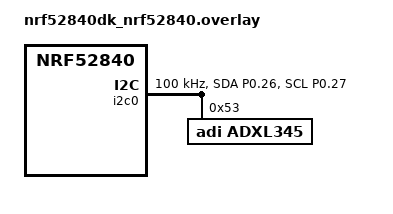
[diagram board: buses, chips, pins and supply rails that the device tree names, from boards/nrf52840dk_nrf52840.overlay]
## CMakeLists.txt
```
#
# Copyright (c) 2020 Nordic Semiconductor ASA
#
# SPDX-License-Identifier: LicenseRef-Nordic-5-Clause
#
cmake_minimum_required(VERSION 3.20.0)

find_package(Zephyr REQUIRED HINTS $ENV{ZEPHYR_BASE})
project(lcd_test)

target_sources(app PRIVATE
	src/main.c)
```

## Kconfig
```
#
# Copyright (c) 2020 Nordic Semiconductor
#
# SPDX-License-Identifier: LicenseRef-Nordic-5-Clause
#

source "Kconfig.zephyr"

menu "Nordic Bluetooth mesh chat client sample"

config BT_MESH_CHAT_CLI_MESSAGE_LENGTH
	int "Max length of the message to be sent over mesh"
	default 90
	range 0 255
	help
	  Impacts on memory size occupied by the buffer of a message to be
	  published. This does not include null terminator. The message must also
	  fit into the application SDU. Adjust BT_MESH_TX_SEG_MAX and
	  BT_MESH_RX_SEG_MAX to be able to receive the longest messages.

config BT_MESH_CHAT_SAMPLE_PRESENCE_CACHE_SIZE
	int "Presence cache size"
	default 10
	range 0 32767
	help
	  Presence cache stores previously received presence of chat clients.
	  Recommended to be as big as number of chat clients in the mesh network.

config NODE_GATEWAY
	bool "Node C: Gateway mode"
	default n
	help
	  Enable gateway behaviour: periodically print own sensor data and
	  received mesh data as ACCEL:<id>:<x>,<y>,<z> lines over UART so
	  that gateway_bridge.py (--serial) can forward them to the WebSocket
	  dashboard.  Flash this build only to the board that is connected to
	  the host PC via USB.  Leave disabled for Node A and Node B.

endmenu

module = BT_MESH_CHAT_CLI
module-str = BT Mesh Chat Client model
source "${ZEPHYR_BASE}/subsys/logging/Kconfig.template.log_config"
```

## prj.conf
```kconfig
# ── I2C + Sensor ────────────────────────────────────────────────────────────
CONFIG_I2C=y
CONFIG_PINCTRL=y
CONFIG_SENSOR=y
CONFIG_ADXL345=y

# ── BLE Mesh ─────────────────────────────────────────────────────────────────
CONFIG_BT=y
CONFIG_BT_MESH=y
CONFIG_BT_OBSERVER=y
CONFIG_BT_PERIPHERAL=y
CONFIG_BT_MESH_RELAY=y
CONFIG_BT_MESH_GATT_PROXY=y
CONFIG_BT_MESH_PB_GATT=y
# MESSAGE_LENGTH=90 → BUF = OP(3) + payload(91) + MIC_SHORT(4) = 98 bytes
# ceil(98/12) = 9 segments required
CONFIG_BT_MESH_TX_SEG_MAX=9
CONFIG_BT_MESH_RX_SEG_MAX=9
# 동시 TX SAR 컨텍스트 수: 기본 1 → EBUSY(-16)/publish 실패 방지
CONFIG_BT_MESH_TX_SEG_MSG_COUNT=4
# 동시 RX SAR 컨텍스트 수: 기본 1 → RELAY+멀티노드 동시 수신 슬롯 고갈 방지
CONFIG_BT_MESH_RX_SEG_MSG_COUNT=4
# Mesh 광고 버퍼: 기본 6 → TX_SEG_MAX(9)×TX_MSG_COUNT(4) 세그먼트 큐잉 대응
CONFIG_BT_MESH_ADV_BUF_COUNT=24

# ── Persistent storage (Mesh 네트워크 키 / 주소 Flash 저장) ──────────────────
CONFIG_FLASH=y
CONFIG_FLASH_MAP=y
CONFIG_NVS=y
CONFIG_SETTINGS=y
CONFIG_BT_SETTINGS=y
CONFIG_MPU_ALLOW_FLASH_WRITE=y

# ── Shell (UART provisioning 명령 + model_handler 디버그 출력) ────────────────
# SHELL_BACKEND_UART 는 nRF52840 DK 기본 defconfig에서 자동 활성화된다.
CONFIG_SHELL=y

# ── DK library (OOB 프로비저닝 버튼 + attention LED blink) ───────────────────
CONFIG_DK_LIBRARY=y
CONFIG_HWINFO=y
CONFIG_BT_MESH_DK_PROV=y

# ── Shell 스택 크기 (sensor get 시 BUS FAULT 방지) ───────────────────────────
CONFIG_SHELL_STACK_SIZE=4096

# ── Logging ──────────────────────────────────────────────────────────────────
CONFIG_LOG=y

# ── 노드 역할 ─────────────────────────────────────────────────────────────────
# Node C (Gateway) 플래시 시에만 y로 설정. Node A/B는 n.
CONFIG_NODE_GATEWAY=n
```

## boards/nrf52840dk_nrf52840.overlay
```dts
/*
 * nRF52840 DK — 1602 LCD (PCF8574 I2C backpack) + ADXL345 가속도계 (GY-291) overlay
 *
 * ── 1602 LCD (PCF8574 I2C 백팩) 연결 ──────────────────────────────────────
 *  LCD 모듈   │  nRF52840 DK
 * ────────────┼────────────────────────────────────────────────────────────
 *  GND        │  GND  (J2 핀1)
 *  VCC        │  VCC (3.3V → J2 핀2, 또는 5V → P22 핀3)
 *  SDA        │  P0.26 (Arduino A4 / J3 핀7)   ← ADXL345 SDA 공유
 *  SCL        │  P0.27 (Arduino A5 / J3 핀8)   ← ADXL345 SCL 공유
 * ─────────────────────────────────────────────────────────────────────────
 *
 * PCF8574 I2C 주소: 0x27 (A0=A1=A2=1, 기본값)
 *                  0x3F (PCF8574AT 칩 사용 시)
 *
 * ── GY-291 (ADXL345) 연결 ─────────────────────────────────────────────────
 *  GY-291 핀  │  nRF52840 DK                    │  비고
 * ────────────┼─────────────────────────────────┼───────────────────────────
 *  GND        │  GND  (J2 핀1)                  │
 *  VCC        │  3.3V (J2 핀2)                  │  3.3V 전용 — 5V 금지
 *  CS         │  3.3V (J2 핀2)                  │  HIGH = I2C 모드 선택
 *  SDO        │  GND  (J2 핀1)                  │  LOW  = I2C 주소 0x53
 *             │                                 │  HIGH = I2C 주소 0x1D
 *  SDA        │  P0.26 (Arduino A4 / J3 핀7)   │  LCD SDA와 동일 버스
 *  SCL        │  P0.27 (Arduino A5 / J3 핀8)   │  LCD SCL와 동일 버스
 *  INT1       │  P1.08 (Arduino D8 / J2 헤더)  │  선택사항 — 폴링 시 미연결 가능
 *  INT2       │  P1.10 (J2 확장 헤더)           │  선택사항 — 폴링 시 미연결 가능
 * ─────────────────────────────────────────────────────────────────────────
 *
 * ADXL345 I2C 주소: 0x53 (SDO → GND, 기본값)
 *                  0x1D (SDO → VCC)
 */

&pinctrl {
	i2c0_default: i2c0_default {
		group1 {
			psels = <NRF_PSEL(TWIM_SDA, 0, 26)>,
				<NRF_PSEL(TWIM_SCL, 0, 27)>;
			bias-pull-up;
		};
	};

	i2c0_sleep: i2c0_sleep {
		group1 {
			psels = <NRF_PSEL(TWIM_SDA, 0, 26)>,
				<NRF_PSEL(TWIM_SCL, 0, 27)>;
			low-power-enable;
		};
	};
};

&i2c0 {
	compatible = "nordic,nrf-twim";
	status = "okay";
	pinctrl-0 = <&i2c0_default>;
	pinctrl-1 = <&i2c0_sleep>;
	pinctrl-names = "default", "sleep";
	clock-frequency = <I2C_BITRATE_STANDARD>;

	adxl345: adxl345@53 {
		compatible = "adi,adxl345";
		reg = <0x53>;
		/* SDO → VCC 연결 시 reg = <0x1D> 로 변경 */
		/* NCS v2.4.0 바인딩은 int-gpios 미지원 — 폴링 모드로 동작 */
	};
};
```

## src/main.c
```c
/*
 * BLE Mesh 분산 가속도 모니터링 노드
 *
 * 동작:
 *   1. ADXL345 (I2C 0x53) 에서 X/Y/Z 가속도를 500 ms 마다 읽는다.
 *   2. Provisioned 상태이면 BLE Mesh로 데이터를 publish 한다.
 *      메시지 포맷: "A:<x_centi>,<y_centi>,<z_centi>"
 *      예) "A:123,-234,981" → x=1.23, y=-2.34, z=9.81 m/s²
 *   3. 다른 노드의 데이터를 수신하면 model_handler가 파싱해 저장한다.
 *   4. LCD 1602 (PCF8574 I2C 백팩 0x27) 에 표시한다.
 *      Line 0: 로컬 노드 X, Y 가속도
 *      Line 1: 수신한 원격 노드 주소 + X 가속도
 *              (미수신: "Mesh: waiting..."  / 미프로비전: "Mesh: no prov  ")
 *
 * I2C 버스 (P0.26 SDA / P0.27 SCL) 공유:
 *   ADXL345  @ 0x53
 *   PCF8574  @ 0x27
 *
 * BLE Mesh 프로비저닝:
 *   nRF Mesh 앱 또는 UART shell 명령으로 수행한다.
 *   프로비전 후 Chat CLI 모델에 App Key 바인딩 + 그룹 주소 구독 설정 필요.
 */

#include <zephyr/kernel.h>
#include <zephyr/device.h>
#include <zephyr/drivers/sensor.h>
#include <zephyr/drivers/i2c.h>
#include <zephyr/bluetooth/bluetooth.h>
#include <zephyr/bluetooth/mesh.h>
#include <zephyr/settings/settings.h>
#include <bluetooth/mesh/dk_prov.h>
#include <dk_buttons_and_leds.h>
#include <stdio.h>

#include "model_handler.h"

#include <zephyr/logging/log.h>
LOG_MODULE_REGISTER(chat, CONFIG_LOG_DEFAULT_LEVEL);

#define ACCEL_NODE              DT_NODELABEL(adxl345)
#define LCD_I2C_NODE            DT_NODELABEL(i2c0)
#define LCD_ADDR                0x27
#define POLL_INTERVAL_MS        200   /* 센서 샘플링 주기 (LCD 갱신 기준) */
#define CHANGE_THRESHOLD_CENTI  5     /* 변화 감지 임계값: 0.05 m/s² */
#define PUB_INTERVAL_MS         1000  /* BLE Mesh 전송 간격: 변화 감지 시 최대 1회/초 */

/* PCF8574 핀 마스크 */
#define LCD_RS  BIT(0)
#define LCD_RW  BIT(1)
#define LCD_E   BIT(2)
#define LCD_BL  BIT(3)

static const struct device *lcd_i2c;

/* ── LCD forward declarations (본문은 아래 정의) ────────────────────────────── */
static void lcd_set_cursor(uint8_t col, uint8_t row);
static void lcd_puts(const char *s);

/* ── 프로비저닝 리셋 (Button 1 5초 꾹) ─────────────────────────────────────── */

static struct k_work_delayable prov_reset_work;

static void prov_reset_handler(struct k_work *work)
{
	LOG_INF("Button 1 held 5s — resetting provisioning");
	lcd_set_cursor(0, 0);
	lcd_puts("Resetting prov..");
	lcd_set_cursor(0, 1);
	lcd_puts("Please wait...  ");
	bt_mesh_reset();
	LOG_INF("Provisioning reset complete. Re-provision to rejoin.");
}

static void button_handler(uint32_t button_state, uint32_t has_changed)
{
	if (!(has_changed & DK_BTN1_MSK)) {
		return;
	}
	if (button_state & DK_BTN1_MSK) {
		k_work_reschedule(&prov_reset_work, K_SECONDS(5));
	} else {
		k_work_cancel_delayable(&prov_reset_work);
	}
}

/* ── 이벤트 기반 publish 상태 ─────────────────────────────────────────────── */

static int32_t last_pub_x = INT32_MIN;
static int32_t last_pub_y = INT32_MIN;
static int32_t last_pub_z = INT32_MIN;
static int64_t last_pub_ms;

#if defined(CONFIG_NODE_GATEWAY)
#define GW_UART_INTERVAL_MS  1000
static int64_t last_gw_print_ms;
#endif

static inline int32_t i32_abs(int32_t v) { return v < 0 ? -v : v; }

static bool accel_needs_publish(int32_t x, int32_t y, int32_t z)
{
	if ((k_uptime_get() - last_pub_ms) < PUB_INTERVAL_MS) {
		return false;
	}
	return (i32_abs(x - last_pub_x) > CHANGE_THRESHOLD_CENTI ||
		i32_abs(y - last_pub_y) > CHANGE_THRESHOLD_CENTI ||
		i32_abs(z - last_pub_z) > CHANGE_THRESHOLD_CENTI);
}

/* ── PCF8574 / HD44780 저수준 ──────────────────────────────────────────── */

static void pcf_write(uint8_t val)
{
	i2c_write(lcd_i2c, &val, 1, LCD_ADDR);
}

static void lcd_pulse_enable(uint8_t data)
{
	pcf_write(data | LCD_E);
	k_busy_wait(1);
	pcf_write(data & ~LCD_E);
	k_busy_wait(50);
}

static void lcd_write_nibble(uint8_t nibble, uint8_t flags)
{
	uint8_t data = (nibble << 4) | flags | LCD_BL;
	lcd_pulse_enable(data);
}

static void lcd_send(uint8_t byte, uint8_t flags)
{
	lcd_write_nibble(byte >> 4, flags);
	lcd_write_nibble(byte & 0x0F, flags);
	k_busy_wait(50);
}

static inline void lcd_cmd(uint8_t cmd) { lcd_send(cmd, 0); }
static inline void lcd_putc(char c)     { lcd_send((uint8_t)c, LCD_RS); }

/* ── LCD 초기화 (4비트 모드) ─────────────────────────────────────────────── */

static void lcd_init(void)
{
	k_msleep(50);

	/* 4비트 초기화 시퀀스 */
	lcd_write_nibble(0x03, 0); k_msleep(5);
	lcd_write_nibble(0x03, 0); k_busy_wait(150);
	lcd_write_nibble(0x03, 0); k_busy_wait(150);
	lcd_write_nibble(0x02, 0); k_busy_wait(150);

	lcd_cmd(0x28); /* 4비트, 2라인, 5×8 */
	lcd_cmd(0x0C); /* Display ON, 커서 OFF */
	lcd_cmd(0x06); /* 자동 증가, 시프트 없음 */
	lcd_cmd(0x01); /* 화면 지우기 */
	k_msleep(2);
}

static void lcd_set_cursor(uint8_t col, uint8_t row)
{
	uint8_t addr = col + (row == 0 ? 0x00 : 0x40);
	lcd_cmd(0x80 | addr);
}

static void lcd_puts(const char *s)
{
	while (*s) {
		lcd_putc(*s++);
	}
}

/* ── 값 포맷 함수 ──────────────────────────────────────────────────────── */

/*
 * sensor_value → 6문자 문자열: <부호><2정수>.<2소수>
 * 예) 1.23 → " 01.23"   -2.34 → "-02.34"
 * buf 크기: 최소 7바이트 (6문자 + null)
 */
static void fmt_sv(char *buf, const struct sensor_value *sv)
{
	int32_t i = sv->val1;
	int32_t f = sv->val2;

	bool neg = (i < 0) || (i == 0 && f < 0);
	if (i < 0) { i = -i; }
	if (f < 0) { f = -f; }

	f = f / 10000; /* micro → centi */

	snprintf(buf, 7, "%c%02d.%02d", neg ? '-' : ' ', (int)i, (int)f);
}

/*
 * centiunits (val × 100) → 6문자 문자열 (fmt_sv와 동일 포맷).
 * 원격 노드 수신 데이터 표시에 사용.
 * buf 크기: 최소 7바이트
 */
static void fmt_centi(char *buf, int32_t cv)
{
	bool neg = cv < 0;

	if (neg) { cv = -cv; }
	snprintf(buf, 7, "%c%02d.%02d", neg ? '-' : ' ',
		 (int)(cv / 100), (int)(cv % 100));
}

/* ── sensor_value → centiunits 변환 ────────────────────────────────────── */

static int32_t sv_to_centi(const struct sensor_value *sv)
{
	return sv->val1 * 100 + sv->val2 / 10000;
}

/* ── 메인 ──────────────────────────────────────────────────────────────── */

int main(void)
{
	int err;

	const struct device *accel = DEVICE_DT_GET(ACCEL_NODE);

	lcd_i2c = DEVICE_DT_GET(LCD_I2C_NODE);

	/* ── 하드웨어 초기화 ── */
	if (!device_is_ready(lcd_i2c)) {
		printk("I2C bus not ready\n");
		return -ENODEV;
	}

	if (!device_is_ready(accel)) {
		printk("ADXL345 not ready\n");
		return -ENODEV;
	}

	lcd_init();
	lcd_set_cursor(0, 0);
	lcd_puts(" BLE Mesh Init  ");
	lcd_set_cursor(0, 1);
	lcd_puts(" Please wait... ");

	/* ── DK 버튼 + LED 초기화 (프로비저닝 OOB + attention blink) ── */
	/* NCS v2.5.0: dk_buttons_and_leds_init() 제거 → 분리 호출 */
	err = dk_leds_init();
	if (err) {
		printk("LEDs init failed: %d\n", err);
		return err;
	}

	k_work_init_delayable(&prov_reset_work, prov_reset_handler);

	err = dk_buttons_init(button_handler);
	if (err) {
		printk("Buttons init failed: %d\n", err);
		return err;
	}

	/* ── BT 스택 활성화 ── */
	err = bt_enable(NULL);
	if (err) {
		printk("bt_enable failed: %d\n", err);
		return err;
	}

	/* ── BLE Mesh 초기화 ──
	 * bt_mesh_dk_prov_init(): DK 보드 기반 OOB 프로비저닝 콜백 반환
	 *   - Output OOB: LED blink (숫자 표시)
	 *   - Input  OOB: 버튼 누름 횟수
	 * model_handler_init(): Chat CLI Vendor Model composition 반환
	 */
	err = bt_mesh_init(bt_mesh_dk_prov_init(), model_handler_init());
	if (err) {
		printk("bt_mesh_init failed: %d\n", err);
		return err;
	}

	/* ── Flash 설정 복원 (이전 프로비저닝 / 네트워크 키 로드) ── */
	if (IS_ENABLED(CONFIG_BT_SETTINGS)) {
		settings_load();
	}

	/* ── 프로비저닝 Bearer 활성화 ──
	 * settings_load()로 이미 프로비저닝된 경우 no-op.
	 * 미프로비저닝 상태이면 ADV + GATT bearer로 광고 시작 → 앱에서 인식 가능.
	 */
	bt_mesh_prov_enable(BT_MESH_PROV_ADV | BT_MESH_PROV_GATT);

	lcd_set_cursor(0, 0);
	lcd_puts("BLE Mesh Ready! ");
	lcd_set_cursor(0, 1);
	lcd_puts(bt_mesh_is_provisioned() ? "Provisioned!    "
					  : "Use nRF Mesh app");
	k_msleep(1500);

	/* ── 메인 루프: 센서 읽기 → 변화 감지 → Mesh publish → LCD 업데이트 ── */
	while (1) {
		struct sensor_value ax, ay, az;
		char xbuf[7], ybuf[7];
		char line[17];

		/* 1. ADXL345 샘플 취득 */
		if (sensor_sample_fetch(accel) < 0) {
			lcd_set_cursor(0, 0);
			lcd_puts("  Fetch Error   ");
			k_msleep(POLL_INTERVAL_MS);
			continue;
		}

		sensor_channel_get(accel, SENSOR_CHAN_ACCEL_X, &ax);
		sensor_channel_get(accel, SENSOR_CHAN_ACCEL_Y, &ay);
		sensor_channel_get(accel, SENSOR_CHAN_ACCEL_Z, &az);

		/* 2. 변화 감지 후 BLE Mesh publish
		 *    - 어느 축이든 CHANGE_THRESHOLD_CENTI 초과 변화 시 즉시 전송
		 *    - 변화 없어도 KEEPALIVE_INTERVAL_MS 마다 강제 전송 (gateway 온라인 감지용)
		 */
		if (bt_mesh_is_provisioned()) {
			int32_t cx = sv_to_centi(&ax);
			int32_t cy = sv_to_centi(&ay);
			int32_t cz = sv_to_centi(&az);

			if (accel_needs_publish(cx, cy, cz)) {
				model_handler_publish_accel(cx, cy, cz);
				last_pub_x  = cx;
				last_pub_y  = cy;
				last_pub_z  = cz;
				last_pub_ms = k_uptime_get();
			}

#if defined(CONFIG_NODE_GATEWAY)
			if ((k_uptime_get() - last_gw_print_ms) >= GW_UART_INTERVAL_MS) {
				printk("ACCEL:C:%d,%d,%d\n",
				       (int)cx, (int)cy, (int)cz);
				last_gw_print_ms = k_uptime_get();
			}
#endif
		}

		/* 3. LCD Line 0: 로컬 X, Y 가속도 */
		fmt_sv(xbuf, &ax);
		fmt_sv(ybuf, &ay);
		snprintf(line, sizeof(line), "X=%sY=%s", xbuf, ybuf);
		lcd_set_cursor(0, 0);
		lcd_puts(line);

		/* 4. LCD Line 1: 원격 노드 데이터 또는 상태 메시지 */
		if (!bt_mesh_is_provisioned()) {
			lcd_set_cursor(0, 1);
			lcd_puts("Mesh: no prov   ");
		} else {
			const struct model_handler_remote_accel *rem =
				model_handler_get_remote_accel();

			if (!rem->valid) {
				lcd_set_cursor(0, 1);
				lcd_puts("Mesh: waiting...");
			} else {
				/*
				 * 원격 노드 주소(4자리 hex) + X 가속도 표시
				 * 예) "R:0002 X+01.23  " (16자)
				 */
				char rx_buf[7];

				fmt_centi(rx_buf, rem->x_centi);
				snprintf(line, sizeof(line),
					 "R:%04X X%s   ",
					 rem->addr, rx_buf);
				lcd_set_cursor(0, 1);
				lcd_puts(line);
			}
		}

		k_msleep(POLL_INTERVAL_MS);
	}

	return 0;
}
```

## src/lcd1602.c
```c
#include "lcd1602.h"

#include <zephyr/drivers/i2c.h>
#include <zephyr/kernel.h>

/*
 * PCF8574 → HD44780 비트 배치 (PCF8574 백팩 표준 배선)
 *
 *  PCF 핀 : P7  P6  P5  P4  P3  P2  P1  P0
 *  HD44780: D7  D6  D5  D4  BL  EN  RW  RS
 */
#define RS  BIT(0)   /* Register Select : 0=cmd, 1=data */
#define RW  BIT(1)   /* Read/Write      : 항상 0(write) */
#define EN  BIT(2)   /* Enable 클럭 */
#define BL  BIT(3)   /* 백라이트 (1=on) */

/* HD44780 명령 */
#define CMD_CLEAR        0x01
#define CMD_HOME         0x02
#define CMD_ENTRY_MODE   0x06   /* 커서 우측 이동, 화면 shift 없음 */
#define CMD_DISPLAY_ON   0x0C   /* 디스플레이 ON, 커서/깜빡임 OFF */
#define CMD_FUNC_SET_4B  0x28   /* 4비트, 2줄, 5×8 폰트 */

static int pcf8574_write(const struct device *dev, uint8_t addr, uint8_t data)
{
	return i2c_write(dev, &data, 1, addr);
}

/* EN 펄스: LOW → HIGH → LOW  (Rising Edge 보장) */
static int lcd_pulse_en(const struct device *dev, uint8_t addr, uint8_t data)
{
	int ret;

	/* EN=0 먼저 확정 → Rising Edge 생성 */
	ret = pcf8574_write(dev, addr, data & ~EN);
	if (ret) {
		return ret;
	}
	k_busy_wait(1);
	ret = pcf8574_write(dev, addr, data | EN);   /* Rising Edge */
	if (ret) {
		return ret;
	}
	k_busy_wait(1);                              /* tEH >450 ns */
	ret = pcf8574_write(dev, addr, data & ~EN);  /* Falling Edge */
	if (ret) {
		return ret;
	}
	k_busy_wait(50);                             /* tExec >37 µs */
	return 0;
}

/* 상위 4비트 nibble 전송 */
static int lcd_write_nibble(const struct device *dev, uint8_t addr,
			    uint8_t nibble, uint8_t flags)
{
	/* 상위 4비트(D7-D4)에 nibble 배치 + 백라이트 상시 ON */
	uint8_t data = ((nibble & 0x0F) << 4) | BL | (flags & (RS | RW));

	return lcd_pulse_en(dev, addr, data);
}

/* 1바이트 명령 또는 데이터 전송 (4비트 모드: 상위 nibble → 하위 nibble) */
static int lcd_send_byte(const struct device *dev, uint8_t addr,
			 uint8_t byte, uint8_t flags)
{
	int ret;

	ret = lcd_write_nibble(dev, addr, byte >> 4, flags);
	if (ret) {
		return ret;
	}
	return lcd_write_nibble(dev, addr, byte & 0x0F, flags);
}

int lcd1602_init(const struct device *i2c_dev, uint8_t addr)
{
	int ret;

	/*
	 * PCF8574 전원 인가 시 모든 핀이 HIGH → EN=1 상태.
	 * EN을 명시적으로 LOW로 끌어내려 Rising Edge를 보장한다.
	 */
	ret = pcf8574_write(i2c_dev, addr, BL); /* EN=0, RS=0, BL=1 */
	if (ret) {
		return ret;
	}
	k_msleep(50); /* 전원 인가 후 >40 ms 대기 */

	/*
	 * HD44780 4비트 초기화 시퀀스 (datasheet p.46)
	 * 8비트 모드 명령(0x03)을 3회 보낸 후 4비트 모드로 전환
	 */
	ret  = lcd_write_nibble(i2c_dev, addr, 0x03, 0);
	k_msleep(5);
	ret |= lcd_write_nibble(i2c_dev, addr, 0x03, 0);
	k_msleep(1);
	ret |= lcd_write_nibble(i2c_dev, addr, 0x03, 0);
	k_msleep(1);
	ret |= lcd_write_nibble(i2c_dev, addr, 0x02, 0); /* 4비트 모드 전환 */
	k_msleep(1);
	if (ret) {
		return ret;
	}

	ret  = lcd_send_byte(i2c_dev, addr, CMD_FUNC_SET_4B, 0);
	ret |= lcd_send_byte(i2c_dev, addr, CMD_DISPLAY_ON, 0);
	ret |= lcd_send_byte(i2c_dev, addr, CMD_CLEAR, 0);
	k_msleep(2); /* clear 명령: >1.52 ms 필요 */
	ret |= lcd_send_byte(i2c_dev, addr, CMD_ENTRY_MODE, 0);

	return ret;
}

int lcd1602_clear(const struct device *i2c_dev, uint8_t addr)
{
	int ret = lcd_send_byte(i2c_dev, addr, CMD_CLEAR, 0);

	k_msleep(2);
	return ret;
}

int lcd1602_set_cursor(const struct device *i2c_dev, uint8_t addr,
		       uint8_t col, uint8_t row)
{
	/* HD44780 DDRAM 주소: 1행=0x00, 2행=0x40 */
	static const uint8_t row_base[] = {0x00, 0x40};

	if (row > 1) {
		row = 1;
	}
	if (col > 15) {
		col = 15;
	}
	return lcd_send_byte(i2c_dev, addr,
			     0x80 | (row_base[row] + col), 0);
}

int lcd1602_write_char(const struct device *i2c_dev, uint8_t addr, char c)
{
	return lcd_send_byte(i2c_dev, addr, (uint8_t)c, RS);
}

int lcd1602_write_str(const struct device *i2c_dev, uint8_t addr,
		      const char *str)
{
	int ret = 0;

	while (*str && !ret) {
		ret = lcd1602_write_char(i2c_dev, addr, *str++);
	}
	return ret;
}
```

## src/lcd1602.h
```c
#ifndef LCD1602_H
#define LCD1602_H

#include <zephyr/device.h>
#include <stdint.h>

/*
 * PCF8574 I2C 주소
 *  0x27 : PCF8574T  (A0=A1=A2=1, 출하 기본값)
 *  0x3F : PCF8574AT (A0=A1=A2=1)
 */
#define LCD1602_DEFAULT_ADDR 0x27

int lcd1602_init(const struct device *i2c_dev, uint8_t addr);
int lcd1602_clear(const struct device *i2c_dev, uint8_t addr);
int lcd1602_set_cursor(const struct device *i2c_dev, uint8_t addr,
		       uint8_t col, uint8_t row);
int lcd1602_write_str(const struct device *i2c_dev, uint8_t addr,
		      const char *str);
int lcd1602_write_char(const struct device *i2c_dev, uint8_t addr, char c);

#endif /* LCD1602_H */
```

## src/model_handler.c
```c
/*
 * Copyright (c) 2019 Nordic Semiconductor ASA
 *
 * SPDX-License-Identifier: LicenseRef-Nordic-5-Clause
 */

#include <stdio.h>
#include <stdlib.h>

#include <zephyr/bluetooth/bluetooth.h>
#include <bluetooth/mesh/models.h>
#include <dk_buttons_and_leds.h>

#include <zephyr/shell/shell.h>
#include <zephyr/shell/shell_uart.h>

#include "chat_cli.h"
#include "model_handler.h"

#include <zephyr/logging/log.h>
LOG_MODULE_DECLARE(chat);

static const struct shell *chat_shell;

/* ── 원격 노드 가속도 데이터 저장소 ─────────────────────────────────────── */
static struct model_handler_remote_accel remote_accel;

/* ── 동적 노드 ID 매핑 ────────────────────────────────────────────────────
 * 수신 순서대로 A, B, D, E... 자동 배정. 'C'는 게이트웨이용으로 예약.
 * 노드 수에 관계없이 2개 이상 연결 시 자동 동작.
 */
#define NODE_ID_MAX  8

struct node_id_entry {
	uint16_t addr;
	char     id;
};

static struct node_id_entry node_id_table[NODE_ID_MAX];
static uint8_t              node_id_count;

static char resolve_node_id(uint16_t addr)
{
	/* 기존 테이블에서 탐색 */
	for (uint8_t i = 0; i < node_id_count; i++) {
		if (node_id_table[i].addr == addr) {
			return node_id_table[i].id;
		}
	}

	/* 신규 노드: 다음 알파벳 배정 (C 건너뜀 — 게이트웨이 예약) */
	if (node_id_count >= NODE_ID_MAX) {
		return '?';
	}

	char next_id = 'A' + node_id_count;
	if (next_id >= 'C') {
		next_id++;   /* C → D, D → E ... */
	}

	node_id_table[node_id_count].addr = addr;
	node_id_table[node_id_count].id   = next_id;
	node_id_count++;

	LOG_INF("Node 0x%04X → ID '%c'", addr, next_id);
	return next_id;
}

/******************************************************************************/
/*************************** Health server setup ******************************/
/******************************************************************************/
/* Set up a repeating delayed work to blink the DK's LEDs when attention is
 * requested.
 */
static struct k_work_delayable attention_blink_work;
static bool attention;

static void attention_blink(struct k_work *work)
{
	static int idx;
	const uint8_t pattern[] = {
		BIT(0) | BIT(1),
		BIT(1) | BIT(2),
		BIT(2) | BIT(3),
		BIT(3) | BIT(0),
	};

	if (attention) {
		dk_set_leds(pattern[idx++ % ARRAY_SIZE(pattern)]);
		k_work_reschedule(&attention_blink_work, K_MSEC(30));
	} else {
		dk_set_leds(DK_NO_LEDS_MSK);
	}
}

static void attention_on(struct bt_mesh_model *mod)
{
	attention = true;
	k_work_reschedule(&attention_blink_work, K_NO_WAIT);
}

static void attention_off(struct bt_mesh_model *mod)
{
	/* Will stop rescheduling blink timer */
	attention = false;
}

static const struct bt_mesh_health_srv_cb health_srv_cb = {
	.attn_on = attention_on,
	.attn_off = attention_off,
};

static struct bt_mesh_health_srv health_srv = {
	.cb = &health_srv_cb,
};

BT_MESH_HEALTH_PUB_DEFINE(health_pub, 0);

/******************************************************************************/
/***************************** Chat model setup *******************************/
/******************************************************************************/
struct presence_cache {
	uint16_t addr;
	enum bt_mesh_chat_cli_presence presence;
};

/* Cache of Presence values of other chat clients. */
static struct presence_cache presence_cache[
			    CONFIG_BT_MESH_CHAT_SAMPLE_PRESENCE_CACHE_SIZE];

static const uint8_t *presence_string[] = {
	[BT_MESH_CHAT_CLI_PRESENCE_AVAILABLE] = "available",
	[BT_MESH_CHAT_CLI_PRESENCE_AWAY] = "away",
	[BT_MESH_CHAT_CLI_PRESENCE_DO_NOT_DISTURB] = "dnd",
	[BT_MESH_CHAT_CLI_PRESENCE_INACTIVE] = "inactive",
};

/**
 * Returns true if the specified address is an address of the local element.
 */
static bool address_is_local(struct bt_mesh_model *mod, uint16_t addr)
{
	return bt_mesh_model_elem(mod)->addr == addr;
}

/**
 * Returns true if the provided address is unicast address.
 */
static bool address_is_unicast(uint16_t addr)
{
	return (addr > 0) && (addr <= 0x7FFF);
}

/**
 * Returns true if the node is new or the presence status is different from
 * the one stored in the cache.
 */
static bool presence_cache_entry_check_and_update(uint16_t addr,
				       enum bt_mesh_chat_cli_presence presence)
{
	static size_t presence_cache_head;
	size_t i;

	/* Find address in cache. */
	for (i = 0; i < ARRAY_SIZE(presence_cache); i++) {
		if (presence_cache[i].addr == addr) {
			if (presence_cache[i].presence == presence) {
				return false;
			}

			/* Break since the node in the cache. */
			break;
		}
	}

	/* Not in cache. */
	if (i == ARRAY_SIZE(presence_cache)) {
		for (i = 0; i < ARRAY_SIZE(presence_cache); i++) {
			if (!presence_cache[i].addr) {
				break;
			}
		}

		/* Cache is full. */
		if (i == ARRAY_SIZE(presence_cache)) {
			i = presence_cache_head;
			presence_cache_head = (presence_cache_head + 1)
			% CONFIG_BT_MESH_CHAT_SAMPLE_PRESENCE_CACHE_SIZE;
		}
	}

	/* Update cache. */
	presence_cache[i].addr = addr;
	presence_cache[i].presence = presence;

	return true;
}

static void print_client_status(void);

static void handle_chat_start(struct bt_mesh_chat_cli *chat)
{
	print_client_status();
}

static void handle_chat_presence(struct bt_mesh_chat_cli *chat,
				 struct bt_mesh_msg_ctx *ctx,
				 enum bt_mesh_chat_cli_presence presence)
{
	if (address_is_local(chat->model, ctx->addr)) {
		if (address_is_unicast(ctx->recv_dst)) {
			shell_print(chat_shell, "<you> are %s",
				    presence_string[presence]);
		}
	} else {
		if (address_is_unicast(ctx->recv_dst)) {
			shell_print(chat_shell, "<0x%04X> is %s", ctx->addr,
				    presence_string[presence]);
		} else if (presence_cache_entry_check_and_update(ctx->addr,
								 presence)) {
			shell_print(chat_shell, "<0x%04X> is now %s",
				    ctx->addr,
				    presence_string[presence]);
		}
	}
}

static void handle_chat_message(struct bt_mesh_chat_cli *chat,
				struct bt_mesh_msg_ctx *ctx,
				const uint8_t *msg)
{
	/* Don't process own messages. */
	if (address_is_local(chat->model, ctx->addr)) {
		return;
	}

	/*
	 * 가속도 데이터 메시지 파싱: "A:<x_centi>,<y_centi>,<z_centi>"
	 * 예) "A:123,-234,981"  →  x=1.23, y=-2.34, z=9.81 m/s²
	 */
	if (msg[0] == 'A' && msg[1] == ':') {
		const char *p = (const char *)msg + 2;
		char *end;

		int32_t xi = (int32_t)strtol(p,       &end, 10);
		if (*end != ',') goto fallback;
		int32_t yi = (int32_t)strtol(end + 1, &end, 10);
		if (*end != ',') goto fallback;
		int32_t zi = (int32_t)strtol(end + 1, &end, 10);

		remote_accel.addr    = ctx->addr;
		remote_accel.x_centi = xi;
		remote_accel.y_centi = yi;
		remote_accel.z_centi = zi;
		remote_accel.valid   = true;

#if defined(CONFIG_NODE_GATEWAY)
		printk("ACCEL:%c:%d,%d,%d\n", resolve_node_id(ctx->addr),
		       (int)xi, (int)yi, (int)zi);
#endif
		return;
	}

fallback:
	shell_print(chat_shell, "<0x%04X>: %s", ctx->addr, msg);
}

static void handle_chat_private_message(struct bt_mesh_chat_cli *chat,
					struct bt_mesh_msg_ctx *ctx,
					const uint8_t *msg)
{
	/* Don't print own messages. */
	if (address_is_local(chat->model, ctx->addr)) {
		return;
	}

	shell_print(chat_shell, "<0x%04X>: *you* %s", ctx->addr, msg);
}

static void handle_chat_message_reply(struct bt_mesh_chat_cli *chat,
				      struct bt_mesh_msg_ctx *ctx)
{
	shell_print(chat_shell, "<0x%04X> received the message", ctx->addr);
}

static const struct bt_mesh_chat_cli_handlers chat_handlers = {
	.start = handle_chat_start,
	.presence = handle_chat_presence,
	.message = handle_chat_message,
	.private_message = handle_chat_private_message,
	.message_reply = handle_chat_message_reply,
};

/* .. include_startingpoint_model_handler_rst_1 */
static struct bt_mesh_chat_cli chat = {
	.handlers = &chat_handlers,
};

static struct bt_mesh_elem elements[] = {
	BT_MESH_ELEM(
		1,
		BT_MESH_MODEL_LIST(
			BT_MESH_MODEL_CFG_SRV,
			BT_MESH_MODEL_HEALTH_SRV(&health_srv, &health_pub)),
		BT_MESH_MODEL_LIST(BT_MESH_MODEL_CHAT_CLI(&chat))),
};
/* .. include_endpoint_model_handler_rst_1 */

static void print_client_status(void)
{
	if (!bt_mesh_is_provisioned()) {
		shell_print(chat_shell,
			    "The mesh node is not provisioned. Please provision the mesh node before using the chat.");
	} else {
		shell_print(chat_shell,
			    "The mesh node is provisioned. The client address is 0x%04x.",
			    bt_mesh_model_elem(chat.model)->addr);
	}

	shell_print(chat_shell, "Current presence: %s",
		    presence_string[chat.presence]);
}

static const struct bt_mesh_comp comp = {
	.cid = CONFIG_BT_COMPANY_ID,
	.elem = elements,
	.elem_count = ARRAY_SIZE(elements),
};

/******************************************************************************/
/******************************** Chat shell **********************************/
/******************************************************************************/
static int cmd_status(const struct shell *shell, size_t argc, char *argv[])
{
	print_client_status();

	return 0;
}

static int cmd_message(const struct shell *shell, size_t argc, char *argv[])
{
	int err;

	if (argc < 2) {
		return -EINVAL;
	}

	err = bt_mesh_chat_cli_message_send(&chat, argv[1]);
	if (err) {
		LOG_WRN("Failed to send message: %d", err);
	}

	/* Print own messages in the chat. */
	shell_print(shell, "<you>: %s", argv[1]);

	return 0;
}

static int cmd_private_message(const struct shell *shell, size_t argc,
			       char *argv[])
{
	uint16_t addr;
	int err;

	if (argc < 3) {
		return -EINVAL;
	}

	addr = strtol(argv[1], NULL, 0);

	/* Print own message to the chat. */
	shell_print(shell, "<you>: *0x%04X* %s", addr, argv[2]);

	err = bt_mesh_chat_cli_private_message_send(&chat, addr, argv[2]);
	if (err) {
		LOG_WRN("Failed to publish message: %d", err);
	}

	return 0;
}

static int cmd_presence_set(const struct shell *shell, size_t argc,
			    char *argv[])
{
	size_t i;

	if (argc < 2) {
		return -EINVAL;
	}

	for (i = 0; i < ARRAY_SIZE(presence_string); i++) {
		if (!strcmp(argv[1], presence_string[i])) {
			enum bt_mesh_chat_cli_presence presence;
			int err;

			presence = i;

			err = bt_mesh_chat_cli_presence_set(&chat, presence);
			if (err) {
				LOG_WRN("Failed to update presence: %d", err);
			}

			/* Print own presence in the chat. */
			shell_print(shell, "You are now %s",
				    presence_string[presence]);

			return 0;
		}
	}

	shell_print(shell,
		    "Unknown presence status: %s. Possible presence statuses:",
		    argv[1]);
	for (i = 0; i < ARRAY_SIZE(presence_string); i++) {
		shell_print(shell, "%s", presence_string[i]);
	}

	return 0;
}

static int cmd_presence_get(const struct shell *shell, size_t argc,
			    char *argv[])
{
	uint16_t addr;
	int err;

	if (argc < 2) {
		return -EINVAL;
	}

	addr = strtol(argv[1], NULL, 0);

	err = bt_mesh_chat_cli_presence_get(&chat, addr);
	if (err) {
		LOG_WRN("Failed to publish message: %d", err);
	}

	return 0;
}

SHELL_STATIC_SUBCMD_SET_CREATE(presence_cmds,
	SHELL_CMD_ARG(set, NULL,
		      "Set presence of the current client <presence: available, away, dnd or inactive>",
		      cmd_presence_set, 2, 0),
	SHELL_CMD_ARG(get, NULL,
		      "Get presence status of the remote node <node>",
		      cmd_presence_get, 2, 0),
	SHELL_SUBCMD_SET_END
);

static int cmd_presence(const struct shell *shell, size_t argc, char *argv[])
{
	if (argc == 1) {
		shell_help(shell);
		/* shell returns 1 when help is printed */
		return 1;
	}

	if (argc != 3) {
		return -EINVAL;
	}

	return 0;
}

SHELL_STATIC_SUBCMD_SET_CREATE(chat_cmds,
	SHELL_CMD_ARG(status, NULL, "Print client status", cmd_status, 1, 0),
	SHELL_CMD(presence, &presence_cmds, "Presence commands", cmd_presence),
	SHELL_CMD_ARG(private, NULL,
		      "Send a private text message to a client <node> <message>",
		      cmd_private_message, 3, 0),
	SHELL_CMD_ARG(msg, NULL, "Send a text message to the chat <message>",
		      cmd_message, 2, 0),
	SHELL_SUBCMD_SET_END
);

static int cmd_chat(const struct shell *shell, size_t argc, char **argv)
{
	if (argc == 1) {
		shell_help(shell);
		/* shell returns 1 when help is printed */
		return 1;
	}

	shell_error(shell, "%s unknown parameter: %s", argv[0], argv[1]);

	return -EINVAL;
}

SHELL_CMD_ARG_REGISTER(chat, &chat_cmds, "Bluetooth Mesh Chat Client commands",
		       cmd_chat, 1, 1);

/******************************************************************************/
/******************************** Public API **********************************/
/******************************************************************************/
const struct bt_mesh_comp *model_handler_init(void)
{
	k_work_init_delayable(&attention_blink_work, attention_blink);

	chat_shell = shell_backend_uart_get_ptr();
	shell_print(chat_shell, ">>> BLE Mesh Accel Node <<<");

	return &comp;
}

void model_handler_publish_accel(int32_t x_centi, int32_t y_centi, int32_t z_centi)
{
	uint8_t msg[32];

	snprintf((char *)msg, sizeof(msg), "A:%d,%d,%d",
		 (int)x_centi, (int)y_centi, (int)z_centi);

	/* 앱에서 설정된 retransmit을 무시하고 강제로 0으로 설정.
	 * 1000ms 주기 publish에서 retransmit이 SAR 컨텍스트를 고갈시키는 것을 방지.
	 * BT_MESH_PUB_RETRANSMIT(count=0, steps=0) = 0
	 */
	if (chat.model && chat.model->pub) {
		chat.model->pub->retransmit = 0;
	}

	int err = bt_mesh_chat_cli_message_send(&chat, msg);

	if (err && err != -EADDRNOTAVAIL) {
		LOG_WRN("accel publish failed: %d", err);
	}
}

const struct model_handler_remote_accel *model_handler_get_remote_accel(void)
{
	return &remote_accel;
}
```
